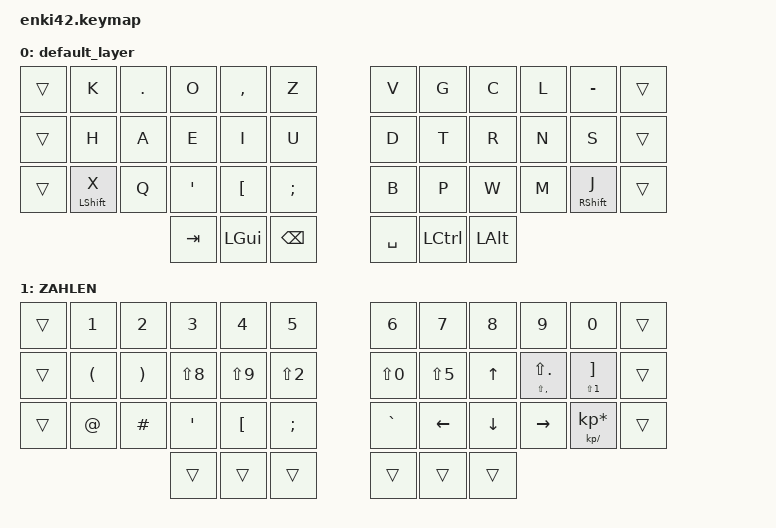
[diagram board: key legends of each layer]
/*
 * Copyright (c) 2020 The ZMK Contributors
 *
 * SPDX-License-Identifier: MIT
 */

#include <behaviors.dtsi>
#include <dt-bindings/zmk/keys.h>
#include <dt-bindings/zmk/bt.h>

#include <dt-bindings/zmk/ext_power.h>

#define DEFAULT 0
#define ZAHLEN  1

&lt { quick_tap_ms = <150>; };
&mt { quick_tap_ms = <150>; };


/ {
        keymap {
                compatible = "zmk,keymap";

                default_layer {
// -----------------------------------------------------------------------------------------
// |     |  K  |  .  |  O  |  ,  |  Z  |   |  V  |  G  |  C  |  L  |  ß  |     |
// |     |  H  |  A  |  E  |  I  |  U  |   |  D  |  T  |  R  |  N  |  S  |     |
// |     |  X  |  Q  |  Ä  |  Ü  |  Ö  |   |  B  |  P  |  W  |  M  |  J  |     |
//                  | TAB | GUI | BSPC |   | SPC | CTL | ALT |
                        bindings = <
   &trans &kp K                &kp DOT  &kp O     &kp COMMA &kp Z         &kp V        &kp G     &kp C  &kp L   &kp MINUS          &trans
   &trans &kp H                &kp A    &kp E     &kp I     &kp U         &kp D        &kp T     &kp R  &kp N   &kp S              &trans  
   &trans &mt LSHIFT X         &kp Q    &kp SQT   &kp LBKT  &kp SEMI      &kp B        &kp P     &kp W  &kp M   &mt RSHIFT J       &trans  
                                        &kp TAB   &kp LGUI  &kp BSPC      &kp SPACE    &kp LCTRL &kp LALT
                        >;
                };

	        ZAHLEN {
// -----------------------------------------------------------------------------------------
// |     |  1  |  2  |  3  |  4  |  5  |   |  6  |  7  |  8  |  9  |  0  |     |
// |     |  (  |  )  |  [  |  ]  |  "  |   |  =  |  %  |  up |  <  |  +  |     |
// |     |  @  |  #  |  -  |  {  |  }  |   |  ^  |  le |  do |  ri |  *  |     |
//                   | XXX | XXX | XXX |   | XXX | XXX | XXX |
                        bindings = <
   &trans &kp N1    &kp N2    &kp N3      &kp N4       &kp N5                &kp N6      &kp N7      &kp N8    &kp N9                  &kp N0                    &trans
   &trans &kp LPAR  &kp RPAR  &kp LS(N8)  &kp LS(N9)   &kp LS(N2)            &kp LS(N0)  &kp LS(N5)  &kp UP    &mt LS(COMMA) LS(DOT)   &mt LS(N1) RBKT     &trans  
   &trans &kp AT    &kp HASH  &kp SQT     &kp LBKT     &kp SEMI              &kp GRAVE   &kp LEFT    &kp DOWN  &kp RIGHT               &mt KP_SLASH KP_MULTIPLY  &trans  
                              &trans      &trans       &trans                &trans      &trans      &trans
                        >;
                };
    };
};


/ {
    combos {
        compatible = "zmk,combos";
        combo_enter {
            timeout-ms = <50>;
            key-positions = <18 19>;
            bindings = <&kp ENTER>;
        };
		combo_f {
            timeout-ms = <50>;
            key-positions = <21 22>;
            bindings = <&kp F>;
        };
		combo_esc {
            timeout-ms = <50>;
            key-positions = <1 2>;
            bindings = <&kp ESC>;
        };
		combo_z {
            timeout-ms = <50>;
            key-positions = <9 10>;
            bindings = <&kp Y>;
        };
		combo_del {
            timeout-ms = <50>;
            key-positions = <4 5>;
            bindings = <&kp DEL>;
        };
		combo_copy {
            timeout-ms = <50>;
            key-positions = <25 26>;
            bindings = <&kp K_COPY>;
        };
		combo_cut {
            timeout-ms = <50>;
            key-positions = <28 29>;
            bindings = <&kp K_CUT>;
        };
		combo_paste {
            timeout-ms = <50>;
            key-positions = <27 28>;
            bindings = <&kp K_PASTE>;
        };
		combo_layer1 {
            timeout-ms = <50>;
            key-positions = <18 19 20>;
            bindings = <&tog 1>;
        };



 };
};

